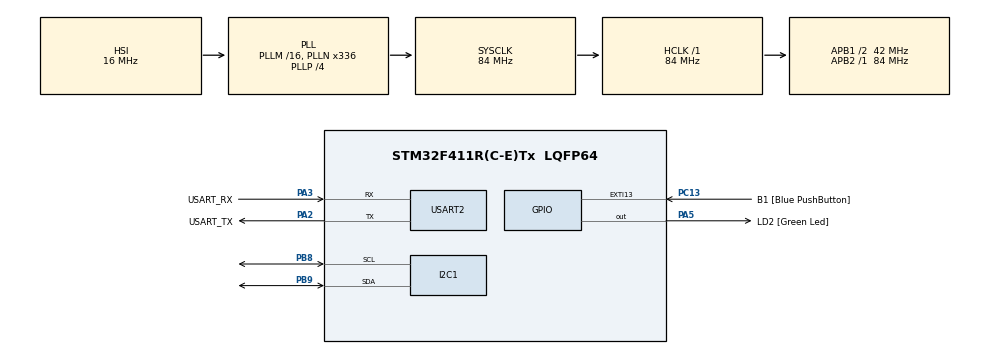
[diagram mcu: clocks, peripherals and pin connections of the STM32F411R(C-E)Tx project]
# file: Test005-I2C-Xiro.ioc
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Dma.I2C1_RX.0.Direction=DMA_PERIPH_TO_MEMORY
Dma.I2C1_RX.0.FIFOMode=DMA_FIFOMODE_DISABLE
Dma.I2C1_RX.0.Instance=DMA1_Stream0
Dma.I2C1_RX.0.MemDataAlignment=DMA_MDATAALIGN_BYTE
Dma.I2C1_RX.0.MemInc=DMA_MINC_ENABLE
Dma.I2C1_RX.0.Mode=DMA_CIRCULAR
Dma.I2C1_RX.0.PeriphDataAlignment=DMA_PDATAALIGN_BYTE
Dma.I2C1_RX.0.PeriphInc=DMA_PINC_DISABLE
Dma.I2C1_RX.0.Priority=DMA_PRIORITY_LOW
Dma.Request0=I2C1_RX
I2C1.NoStretchMode=I2C_NOSTRETCH_DISABLE
Mcu.Family=STM32F4
Mcu.Name=STM32F411R(C-E)Tx
Mcu.Package=LQFP64
NVIC.DMA1_Stream0_IRQn=true\:0\:0\:false\:false\:true\:false\:true\:true
NVIC.PriorityGroup=NVIC_PRIORITYGROUP_0
PA13.GPIO_Label=TMS
PA13.Mode=Serial_Wire
PA13.Signal=SYS_JTMS-SWDIO
PA14.GPIO_Label=TCK
PA14.Mode=Serial_Wire
PA14.Signal=SYS_JTCK-SWCLK
PA2.GPIO_Label=USART_TX
PA2.Mode=Asynchronous
PA2.Signal=USART2_TX
PA3.GPIO_Label=USART_RX
PA3.Mode=Asynchronous
PA3.Signal=USART2_RX
PA5.GPIO_Label=LD2 [Green Led]
PA5.Signal=GPIO_Output
PB3.GPIO_Label=SWO
PB3.Signal=SYS_JTDO-SWO
PB8.Mode=I2C
PB8.Signal=I2C1_SCL
PB9.Mode=I2C
PB9.Signal=I2C1_SDA
PC13-ANTI_TAMP.GPIO_Label=B1 [Blue PushButton]
PC13-ANTI_TAMP.GPIO_ModeDefaultEXTI=GPIO_MODE_IT_FALLING
PC13-ANTI_TAMP.Signal=GPXTI13
PC14-OSC32_IN.Mode=LSE-External-Oscillator
PC14-OSC32_IN.Signal=RCC_OSC32_IN
PC15-OSC32_OUT.Mode=LSE-External-Oscillator
PC15-OSC32_OUT.Signal=RCC_OSC32_OUT
PH0\ -\ OSC_IN.Mode=HSE-External-Clock-Source
PH0\ -\ OSC_IN.Signal=RCC_OSC_IN
PH1\ -\ OSC_OUT.Mode=HSE-External-Clock-Source
PH1\ -\ OSC_OUT.Signal=RCC_OSC_OUT
ProjectManager.HeapSize=0x200
ProjectManager.StackSize=0x400
ProjectManager.TargetToolchain=STM32CubeIDE
RCC.48MHZClocksFreq_Value=84000000
RCC.AHBFreq_Value=84000000
RCC.APB1CLKDivider=RCC_HCLK_DIV2
RCC.APB1Freq_Value=42000000
RCC.APB1TimFreq_Value=84000000
RCC.APB2Freq_Value=84000000
RCC.APB2TimFreq_Value=84000000
RCC.CortexFreq_Value=84000000
RCC.FLatency-AdvancedSettings=FLASH_LATENCY_2
RCC.HCLKFreq_Value=84000000
RCC.HSE_VALUE=8000000
RCC.HSI_VALUE=16000000
RCC.PLLN=336
RCC.PLLP=RCC_PLLP_DIV4
RCC.SYSCLKFreq_VALUE=84000000
RCC.SYSCLKSource=RCC_SYSCLKSOURCE_PLLCLK
RCC.VCOOutputFreq_Value=336000000
USART2.VirtualMode=VM_ASYNC
board=NUCLEO-F411RE

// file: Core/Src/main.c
/* USER CODE BEGIN Header */
/**
  ******************************************************************************
  * @file           : main.c
  * @brief          : Main program body
  ******************************************************************************
  * @attention
  *
  * Copyright (c) 2025 STMicroelectronics.
  * All rights reserved.
  *
  * This software is licensed under terms that can be found in the LICENSE file
  * in the root directory of this software component.
  * If no LICENSE file comes with this software, it is provided AS-IS.
  *
  ******************************************************************************
  */
/* USER CODE END Header */
#include "main.h"

I2C_HandleTypeDef hi2c1;
DMA_HandleTypeDef hdma_i2c1_rx;

UART_HandleTypeDef huart2;

void SystemClock_Config(void);
static void MX_GPIO_Init(void);
static void MX_DMA_Init(void);
static void MX_USART2_UART_Init(void);
static void MX_I2C1_Init(void);

/* USER CODE BEGIN 0 */
uint16_t MPU6050 = 0x00d0;

double Ax=.0,Ay=.0,Az=.0;
void MPU6050_Read_Accel()
{
	uint8_t Rec_Data[6];

	// Read 6 BYTES of data starting from ACCEL_XOUT_H (0x3B) register
	HAL_I2C_Mem_Read (&hi2c1, MPU6050, 0x3B, 1, Rec_Data, 6, 1000);
	int Accel_X_RAW = (int16_t)(Rec_Data[0] << 8 | Rec_Data [1]);
	int Accel_Y_RAW = (int16_t)(Rec_Data[2] << 8 | Rec_Data [3]);
	int Accel_Z_RAW = (int16_t)(Rec_Data[4] << 8 | Rec_Data [5]);

	Ax = (float)Accel_X_RAW/16384.0;
	Ay = (float)Accel_Y_RAW/16384.0;
	Az = (float)Accel_Z_RAW/16384.0;
}
double Gx=.0,Gy=.0,Gz=.0;
void MPU6050_Read_Gyro()
{
	uint8_t Rec_Data[6];

	// Read 6 BYTES of data starting from GYRO_XOUT_H register
	HAL_I2C_Mem_Read (&hi2c1, MPU6050, 0x43, 1, Rec_Data, 6, 1000);

	int Gyro_X_RAW = (int16_t)(Rec_Data[0] << 8 | Rec_Data [1]);
	int Gyro_Y_RAW = (int16_t)(Rec_Data[2] << 8 | Rec_Data [3]);
	int Gyro_Z_RAW = (int16_t)(Rec_Data[4] << 8 | Rec_Data [5]);

	Gx = (float)Gyro_X_RAW/131.0;
	Gy = (float)Gyro_Y_RAW/131.0;
	Gz = (float)Gyro_Z_RAW/131.0;
}
/* USER CODE END 0 */

int main(void)
{

  /* MCU Configuration--------------------------------------------------------*/

  /* Reset of all peripherals, Initializes the Flash interface and the Systick. */
  HAL_Init();

  /* Configure the system clock */
  SystemClock_Config();

  /* Initialize all configured peripherals */
  MX_GPIO_Init();
  MX_DMA_Init();
  MX_USART2_UART_Init();
  MX_I2C1_Init();
  /* USER CODE BEGIN 2 */
  ProgramStart("I2C Test - 6500 Xiro");
  uint8_t check1, check2;
  uint8_t Data;

  HAL_I2C_Mem_Read (&hi2c1, MPU6050, 0x75, 1, &check1, 1, 1000);
  HAL_I2C_Mem_Read (&hi2c1, 0x4e, 0x75, 1, &check2, 1, 1000);
  printf("WHO_AM_I regi value(%02x) : %02x\r\n", MPU6050, check1);
  printf("WHO_AM_I regi value(%02x) : %02x\r\n", 0x4e, check2);
  i2c_init(&hi2c1);
  i2c_scan();

  lcd_init();
  lcd_print("Hello ");
  lcd_print("Good afternoon");

  Data = 0; // PWR_MGMT_1 (0x6B)
  HAL_I2C_Mem_Write(&hi2c1, MPU6050, 0x6B, 1, &Data, 1, 1000);
  Data = 7; // SMPLRT_DIV (0x19)
  HAL_I2C_Mem_Write(&hi2c1, MPU6050, 0x19, 1, &Data, 1, 1000);
  Data = 0; // CONFIG (0x1A)
  HAL_I2C_Mem_Write(&hi2c1, MPU6050, 0x1A, 1, &Data, 1, 1000);
  Data = 24; // GYRO_CONFIG (0x1B)
  HAL_I2C_Mem_Write(&hi2c1, MPU6050, 0x1B, 1, &Data, 1, 1000);
  Data = 0; // ACCEL_CONFIG (0x1C)
  HAL_I2C_Mem_Write(&hi2c1, MPU6050, 0x1C, 1, &Data, 1, 1000);
  Data = 1; // INT_ENABLE (0x38)
  HAL_I2C_Mem_Write(&hi2c1, MPU6050, 0x38, 1, &Data, 1, 1000);

  /* USER CODE END 2 */

  /* Infinite loop */
  /* USER CODE BEGIN WHILE */
  while (1)
  {
	  MPU6050_Read_Gyro();
	  MPU6050_Read_Accel();
	  printf("Ax=%.2f   Ay=%.2f   Az=%.2f  |  ",Ax,Ay,Az);
	  printf("Gx=%.2f   Gy=%.2f   Gz=%.2f\r\n",Gx,Gy,Gz);
	  HAL_Delay(200);
    /* USER CODE END WHILE */

  }
}

void SystemClock_Config(void)
{
  RCC_OscInitTypeDef RCC_OscInitStruct = {0};
  RCC_ClkInitTypeDef RCC_ClkInitStruct = {0};

  /** Configure the main internal regulator output voltage
  */
  __HAL_RCC_PWR_CLK_ENABLE();
  __HAL_PWR_VOLTAGESCALING_CONFIG(PWR_REGULATOR_VOLTAGE_SCALE1);

  /** Initializes the RCC Oscillators according to the specified parameters
  * in the RCC_OscInitTypeDef structure.
  */
  RCC_OscInitStruct.OscillatorType = RCC_OSCILLATORTYPE_HSI;
  RCC_OscInitStruct.HSIState = RCC_HSI_ON;
  RCC_OscInitStruct.HSICalibrationValue = RCC_HSICALIBRATION_DEFAULT;
  RCC_OscInitStruct.PLL.PLLState = RCC_PLL_ON;
  RCC_OscInitStruct.PLL.PLLSource = RCC_PLLSOURCE_HSI;
  RCC_OscInitStruct.PLL.PLLM = 16;
  RCC_OscInitStruct.PLL.PLLN = 336;
  RCC_OscInitStruct.PLL.PLLP = RCC_PLLP_DIV4;
  RCC_OscInitStruct.PLL.PLLQ = 4;
  if (HAL_RCC_OscConfig(&RCC_OscInitStruct) != HAL_OK)
  {
    Error_Handler();
  }

  /** Initializes the CPU, AHB and APB buses clocks
  */
  RCC_ClkInitStruct.ClockType = RCC_CLOCKTYPE_HCLK|RCC_CLOCKTYPE_SYSCLK
                              |RCC_CLOCKTYPE_PCLK1|RCC_CLOCKTYPE_PCLK2;
  RCC_ClkInitStruct.SYSCLKSource = RCC_SYSCLKSOURCE_PLLCLK;
  RCC_ClkInitStruct.AHBCLKDivider = RCC_SYSCLK_DIV1;
  RCC_ClkInitStruct.APB1CLKDivider = RCC_HCLK_DIV2;
  RCC_ClkInitStruct.APB2CLKDivider = RCC_HCLK_DIV1;

  if (HAL_RCC_ClockConfig(&RCC_ClkInitStruct, FLASH_LATENCY_2) != HAL_OK)
  {
    Error_Handler();
  }
}

static void MX_I2C1_Init(void)
{

  hi2c1.Instance = I2C1;
  hi2c1.Init.ClockSpeed = 100000;
  hi2c1.Init.DutyCycle = I2C_DUTYCYCLE_2;
  hi2c1.Init.OwnAddress1 = 0;
  hi2c1.Init.AddressingMode = I2C_ADDRESSINGMODE_7BIT;
  hi2c1.Init.DualAddressMode = I2C_DUALADDRESS_DISABLE;
  hi2c1.Init.OwnAddress2 = 0;
  hi2c1.Init.GeneralCallMode = I2C_GENERALCALL_DISABLE;
  hi2c1.Init.NoStretchMode = I2C_NOSTRETCH_DISABLE;
  if (HAL_I2C_Init(&hi2c1) != HAL_OK)
  {
    Error_Handler();
  }

}

static void MX_USART2_UART_Init(void)
{

  huart2.Instance = USART2;
  huart2.Init.BaudRate = 115200;
  huart2.Init.WordLength = UART_WORDLENGTH_8B;
  huart2.Init.StopBits = UART_STOPBITS_1;
  huart2.Init.Parity = UART_PARITY_NONE;
  huart2.Init.Mode = UART_MODE_TX_RX;
  huart2.Init.HwFlowCtl = UART_HWCONTROL_NONE;
  huart2.Init.OverSampling = UART_OVERSAMPLING_16;
  if (HAL_UART_Init(&huart2) != HAL_OK)
  {
    Error_Handler();
  }

}

static void MX_DMA_Init(void)
{

  /* DMA controller clock enable */
  __HAL_RCC_DMA1_CLK_ENABLE();

  /* DMA interrupt init */
  /* DMA1_Stream0_IRQn interrupt configuration */
  HAL_NVIC_SetPriority(DMA1_Stream0_IRQn, 0, 0);
  HAL_NVIC_EnableIRQ(DMA1_Stream0_IRQn);

}

static void MX_GPIO_Init(void)
{
  GPIO_InitTypeDef GPIO_InitStruct = {0};

  /* GPIO Ports Clock Enable */
  __HAL_RCC_GPIOC_CLK_ENABLE();
  __HAL_RCC_GPIOH_CLK_ENABLE();
  __HAL_RCC_GPIOA_CLK_ENABLE();
  __HAL_RCC_GPIOB_CLK_ENABLE();

  /*Configure GPIO pin Output Level */
  HAL_GPIO_WritePin(LD2_GPIO_Port, LD2_Pin, GPIO_PIN_RESET);

  /*Configure GPIO pin : B1_Pin */
  GPIO_InitStruct.Pin = B1_Pin;
  GPIO_InitStruct.Mode = GPIO_MODE_IT_FALLING;
  GPIO_InitStruct.Pull = GPIO_NOPULL;
  HAL_GPIO_Init(B1_GPIO_Port, &GPIO_InitStruct);

  /*Configure GPIO pin : LD2_Pin */
  GPIO_InitStruct.Pin = LD2_Pin;
  GPIO_InitStruct.Mode = GPIO_MODE_OUTPUT_PP;
  GPIO_InitStruct.Pull = GPIO_NOPULL;
  GPIO_InitStruct.Speed = GPIO_SPEED_FREQ_LOW;
  HAL_GPIO_Init(LD2_GPIO_Port, &GPIO_InitStruct);

}

void Error_Handler(void)
{
  __disable_irq();
  while (1)
  {
  }
}
